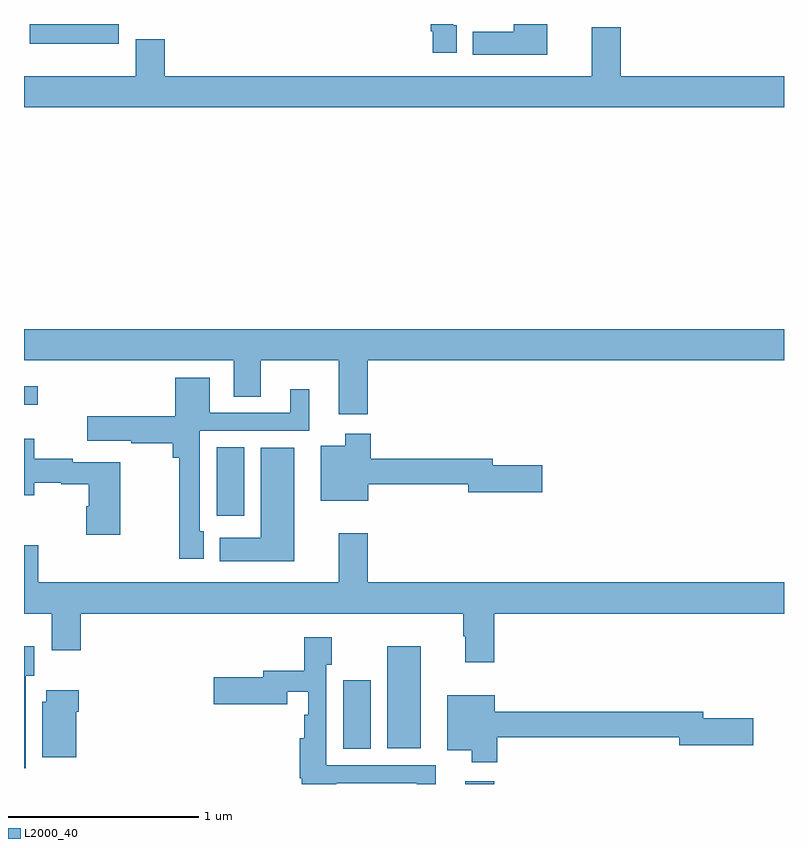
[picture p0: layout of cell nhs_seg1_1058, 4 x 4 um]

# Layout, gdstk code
import gdstk
lib = gdstk.Library(unit=1e-6, precision=1e-09)
def R(c, l, rs):  # rectangles x0, y0, x1, y1
    for r in rs: c.add(gdstk.rectangle(r[:2], r[2:], *l))
def P(c, l, *ps):  # polygons
    for p in ps: c.add(gdstk.Polygon(p, *l))
L2000_40 = (2000, 40)

nhs_seg1_1058 = lib.new_cell('nhs_seg1_1058')
R(nhs_seg1_1058, L2000_40, [(171.323,520.199,171.476,520.213), (170.681,520.384,170.824,520.746), (170.912,520.388,171.088,520.924), (170.015,521.61,170.158,521.972), (169,522.195,169.072,522.292), (169.029,524.096,169.498,524.199)])
P(nhs_seg1_1058, L2000_40, [(171.277,524.193),(171.258,524.193),(171.258,524.199),(171.142,524.199),(171.142,524.161),(171.15,524.161),(171.15,524.049),(171.277,524.049)],
  [(171.754,524.199),(171.578,524.199),(171.578,524.158),(171.362,524.158),(171.362,524.036),(171.754,524.036)],
  [(173,523.924),(172.142,523.924),(172.142,524.182),(171.989,524.182),(171.989,523.924),(169.742,523.924),(169.742,524.119),(169.589,524.119),(169.589,523.924),(169,523.924),(169,523.76),(173,523.76)],
  [(170.81,522.428),(173,522.428),(173,522.592),(169,522.592),(169,522.428),(170.105,522.428),(170.105,522.238),(170.245,522.238),(170.245,522.428),(170.657,522.428),(170.657,522.144),(170.81,522.144)],
  [(169.945,521.529),(169.926,521.529),(169.926,522.057),(170.5,522.057),(170.5,522.277),(170.402,522.277),(170.402,522.153),(169.978,522.153),(169.978,522.337),(169.796,522.337),(169.796,522.135),(169.332,522.135),(169.332,522.005),(169.564,522.005),(169.564,521.993),(169.784,521.993),(169.784,521.915),(169.818,521.915),(169.818,521.385),(169.945,521.385)],
  [(170.812,521.776),(171.338,521.776),(171.338,521.734),(171.727,521.734),(171.727,521.876),(171.466,521.876),(171.466,521.912),(170.825,521.912),(170.825,522.043),(170.69,522.043),(170.69,521.98),(170.561,521.98),(170.561,521.69),(170.812,521.69)],
  [(169.506,521.892),(169.257,521.892),(169.257,521.912),(169.054,521.912),(169.054,522.016),(169,522.016),(169,521.72),(169.054,521.72),(169.054,521.784),(169.197,521.784),(169.197,521.776),(169.34,521.776),(169.34,521.661),(169.328,521.661),(169.328,521.511),(169.506,521.511)],
  [(170.422,521.968),(170.246,521.968),(170.246,521.494),(170.03,521.494),(170.03,521.372),(170.422,521.372)],
  [(171.476,521.096),(173,521.096),(173,521.26),(170.81,521.26),(170.81,521.518),(170.657,521.518),(170.657,521.26),(169.076,521.26),(169.076,521.455),(169,521.455),(169,521.096),(169.145,521.096),(169.145,520.902),(169.298,520.902),(169.298,521.096),(171.311,521.096),(171.311,520.976),(171.323,520.976),(171.323,520.839),(171.476,520.839)],
  [(170.644,520.203),(171.068,520.203),(171.068,520.199),(171.166,520.199),(171.166,520.299),(170.592,520.299),(170.592,520.827),(170.619,520.827),(170.619,520.972),(170.476,520.972),(170.476,520.795),(170.258,520.795),(170.258,520.761),(169.998,520.761),(169.998,520.619),(170.386,520.619),(170.386,520.684),(170.496,520.684),(170.496,520.563),(170.476,520.563),(170.476,520.441),(170.45,520.441),(170.45,520.23),(170.462,520.23),(170.462,520.199),(170.644,520.199)],
  [(169.009,520.77),(169.054,520.77),(169.054,520.924),(169,520.924),(169,520.281),(169.009,520.281)],
  [(169.276,520.58),(169.289,520.58),(169.289,520.693),(169.118,520.693),(169.118,520.632),(169.097,520.632),(169.097,520.34),(169.276,520.34)],
  [(171.491,520.444),(172.448,520.444),(172.448,520.402),(172.837,520.402),(172.837,520.544),(172.576,520.544),(172.576,520.58),(171.478,520.58),(171.478,520.666),(171.227,520.666),(171.227,520.376),(171.356,520.376),(171.356,520.314),(171.491,520.314)])

lib.write_gds('nhs_seg1_1058.gds')
